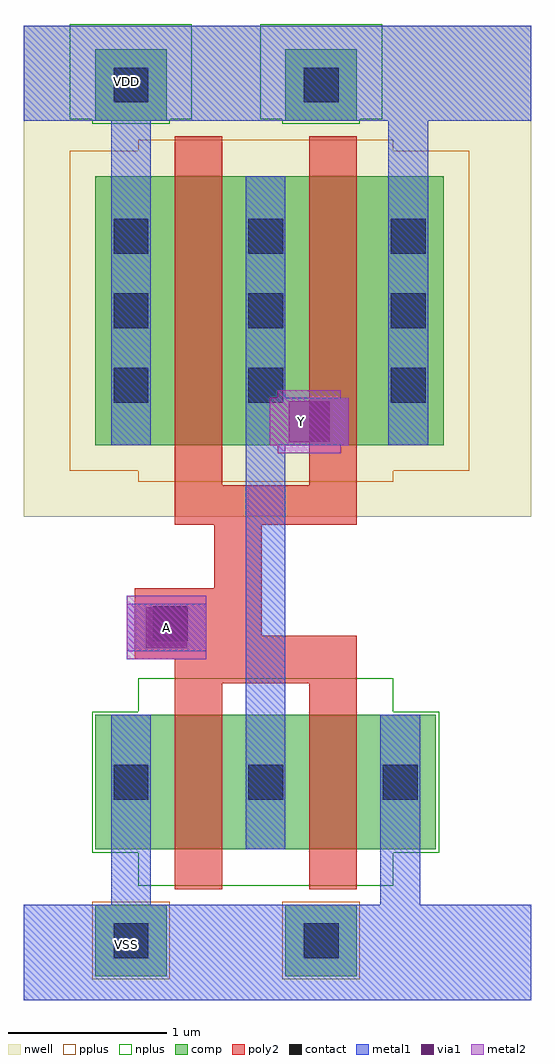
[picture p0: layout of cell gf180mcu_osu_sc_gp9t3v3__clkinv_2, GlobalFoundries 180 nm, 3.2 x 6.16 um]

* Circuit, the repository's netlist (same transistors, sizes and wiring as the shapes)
* Copyright 2022 Google LLC
*
* Licensed under the Apache License, Version 2.0 (the "License");
* you may not use this file except in compliance with the License.
* You may obtain a copy of the License at
*
*      http://www.apache.org/licenses/LICENSE-2.0
*
* Unless required by applicable law or agreed to in writing, software
* distributed under the License is distributed on an "AS IS" BASIS,
* WITHOUT WARRANTIES OR CONDITIONS OF ANY KIND, either express or implied.
* See the License for the specific language governing permissions and
* limitations under the License.

.inc "/import/yukari1/lrburle/OSU_180/char/techfiles/design.hspice"
.lib "/import/yukari1/lrburle/OSU_180/char/techfiles/sm141064.hspice" typical

.GLOBAL VDD
.GLOBAL VSS

.option scale=0.05u

.subckt gf180mcu_osu_sc_gp9t3v3__clkinv_2 A Y
X0 VDD A Y VDD pmos_3p3 w=34 l=6
X1 Y A VSS VSS nmos_3p3 w=17 l=6
X2 Y A VDD VDD pmos_3p3 w=34 l=6
X3 VSS A Y VSS nmos_3p3 w=17 l=6
.ends

** hspice subcircuit dictionary

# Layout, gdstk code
import gdstk
lib = gdstk.Library(unit=1e-6, precision=1e-09)
def R(c, l, rs):  # rectangles x0, y0, x1, y1
    for r in rs: c.add(gdstk.rectangle(r[:2], r[2:], *l))
def A(c, l, x, y, w, h, nx, ny, dx, dy):  # array of equal rectangles
    R(c, l, [(x+i*dx, y+j*dy, x+i*dx+w, y+j*dy+h) for i in range(nx) for j in range(ny)])
nwell = (21, 0)
comp = (22, 0)
poly2 = (30, 0)
pplus = (31, 0)
nplus = (32, 0)
contact = (33, 0)
metal1 = (34, 0)
via1 = (35, 0)
metal2 = (36, 0)

gf180mcu_osu_sc_gp9t3v3_ = lib.new_cell('gf180mcu_osu_sc_gp9t3v3__clkinv_2')
R(gf180mcu_osu_sc_gp9t3v3_, nwell, [(0,3.05,3.2,6.15)])
R(gf180mcu_osu_sc_gp9t3v3_, comp, [(0.45,0.15,0.9,0.6), (1.65,0.15,2.1,0.6), (0.45,0.95,2.6,1.8), (0.45,3.5,2.65,5.2), (0.45,5.55,0.9,6), (1.65,5.55,2.1,6)])
R(gf180mcu_osu_sc_gp9t3v3_, poly2, [(0.95,0.7,1.25,2), (1.8,0.7,2.1,2), (0.95,2,2.1,2.15), (0.7,2.15,2.1,2.3), (0.7,2.3,1.5,2.6), (1.2,2.6,1.5,3), (0.95,3,2.1,3.25), (0.95,3.25,1.25,5.45), (1.8,3.25,2.1,5.45)])
R(gf180mcu_osu_sc_gp9t3v3_, pplus, [(0.43,0.13,0.92,0.62), (1.63,0.13,2.12,0.62), (0.72,3.27,2.33,3.34), (0.29,3.34,2.81,5.36), (0.72,5.36,2.33,5.43)])
R(gf180mcu_osu_sc_gp9t3v3_, nplus, [(0.72,0.72,2.33,0.93), (0.43,0.93,2.62,1.82), (0.72,1.82,2.33,2.03), (0.43,5.53,0.92,5.56), (1.63,5.53,2.12,5.56), (0.29,5.56,1.06,6.16), (1.49,5.56,2.26,6.16)])
A(gf180mcu_osu_sc_gp9t3v3_, contact, 0.565, 1.265, 0.22, 0.22, 3, 1, 0.85, 0)
A(gf180mcu_osu_sc_gp9t3v3_, contact, 0.565, 3.77, 0.22, 0.22, 1, 3, 0, 0.47)
A(gf180mcu_osu_sc_gp9t3v3_, contact, 1.415, 3.77, 0.22, 0.22, 1, 3, 0, 0.47)
A(gf180mcu_osu_sc_gp9t3v3_, contact, 2.315, 3.77, 0.22, 0.22, 1, 3, 0, 0.47)
R(gf180mcu_osu_sc_gp9t3v3_, contact, [(0.565,0.265,0.785,0.485), (1.765,0.265,1.985,0.485), (0.815,2.265,1.035,2.485), (0.565,5.665,0.785,5.885), (1.765,5.665,1.985,5.885)])
R(gf180mcu_osu_sc_gp9t3v3_, metal1, [(0,0,3.2,0.6), (0.55,0.6,0.8,1.8), (2.25,0.6,2.5,1.8), (1.4,0.95,1.65,3.5), (0.65,2.2,1.15,2.5), (0.55,3.5,0.8,5.55), (1.4,3.5,2.05,3.8), (2.3,3.5,2.55,5.55), (1.4,3.8,1.65,5.2), (0,5.55,3.2,6.15)])
R(gf180mcu_osu_sc_gp9t3v3_, via1, [(0.77,2.22,1.03,2.48), (1.67,3.52,1.93,3.78)])
R(gf180mcu_osu_sc_gp9t3v3_, metal2, [(0.65,2.15,1.15,2.55), (1.6,3.45,2,3.5), (1.55,3.5,2.05,3.8), (1.6,3.8,2,3.85)])
gf180mcu_osu_sc_gp9t3v3_.add(gdstk.Label('VDD', (0.65,5.8), layer=34, texttype=0))
gf180mcu_osu_sc_gp9t3v3_.add(gdstk.Label('VSS', (0.65,0.35), layer=34, texttype=0))
gf180mcu_osu_sc_gp9t3v3_.add(gdstk.Label('A', (0.9,2.35), layer=36, texttype=10))
gf180mcu_osu_sc_gp9t3v3_.add(gdstk.Label('Y', (1.75,3.65), layer=36, texttype=10))

lib.write_gds('gf180mcu_osu_sc_gp9t3v3__clkinv_2.gds')
